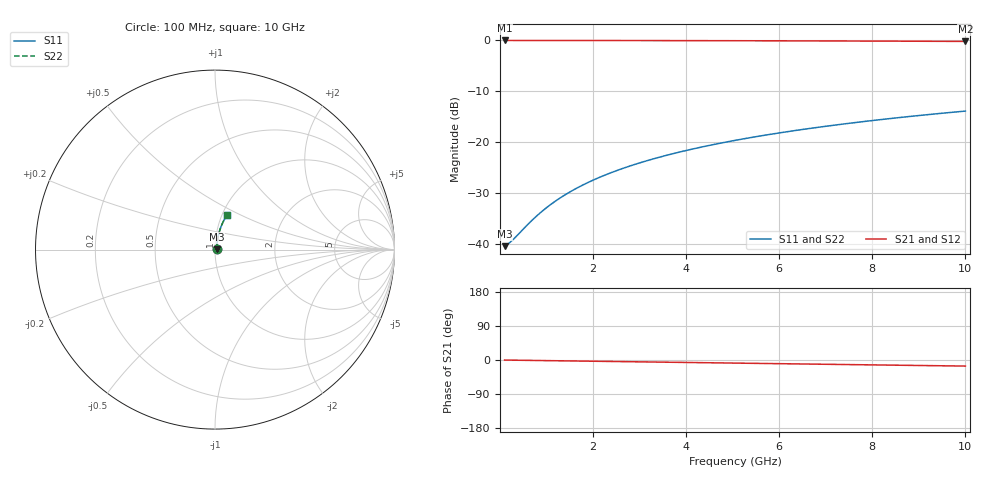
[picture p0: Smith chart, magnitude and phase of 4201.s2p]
# Hz S RI R 50.00
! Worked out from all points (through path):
!   100 points, 100 MHz to 10 GHz, reference 50 ohm
!   highest |S21| = -0.08 dB at 100 MHz (marker M1); lowest = -0.3 dB at 10 GHz (marker M2)
!   group delay of S21, straight-line fit = 4.46 ps
!   lowest |S11| = -40.4 dB at 100 MHz (marker M3), VSWR 1.02, Z = 50.9 + j0.207 ohm
!   |S11| at or under -10 dB: start of sweep to end of sweep
!   |S22| runs from -40.4 to -13.9 dB; largest |S21 - S12| = 0
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1e8  0.00931 0.00203  0.9907 -0.00281  0.9907 -0.00281  0.00931 0.00203
2e8  0.00939 0.00407  0.9906 -0.00561  0.9906 -0.00561  0.00939 0.00407
3e8  0.00946 0.0061  0.9905 -0.00842  0.9905 -0.00842  0.00946 0.0061
7e8  0.00981 0.0142  0.9902 -0.0196  0.9902 -0.0196  0.00981 0.0142
8e8  0.00992 0.0163  0.9901 -0.0224  0.9901 -0.0224  0.00992 0.0163
1e9  0.0102 0.0203  0.9898 -0.028  0.9898 -0.028  0.0102 0.0203
1.2e9  0.0105 0.0244  0.9895 -0.0336  0.9895 -0.0336  0.0105 0.0244
1.4e9  0.0108 0.0284  0.9891 -0.0392  0.9891 -0.0392  0.0108 0.0284
1.6e9  0.0112 0.0325  0.9888 -0.0448  0.9888 -0.0448  0.0112 0.0325
1.8e9  0.0116 0.0365  0.9883 -0.0504  0.9883 -0.0504  0.0116 0.0365
2.1e9  0.0123 0.0425  0.9876 -0.0588  0.9876 -0.0588  0.0123 0.0425
2.5e9  0.0134 0.0506  0.9864 -0.0699  0.9864 -0.0699  0.0134 0.0506
2.9e9  0.0147 0.0586  0.9851 -0.081  0.9851 -0.081  0.0147 0.0586
3.4e9  0.0165 0.0685  0.9831 -0.0948  0.9831 -0.0948  0.0165 0.0685
3.8e9  0.0182 0.0764  0.9814 -0.1058  0.9814 -0.1058  0.0182 0.0764
4.2e9  0.02 0.0843  0.9794 -0.1168  0.9794 -0.1168  0.02 0.0843
5.1e9  0.0248 0.1018  0.9744 -0.1413  0.9744 -0.1413  0.0248 0.1018
5.9e9  0.0298 0.1171  0.9691 -0.1628  0.9691 -0.1628  0.0298 0.1171
6.7e9  0.0354 0.1321  0.9632 -0.184  0.9632 -0.184  0.0354 0.1321
7.5e9  0.0417 0.1468  0.9566 -0.2049  0.9566 -0.2049  0.0417 0.1468
8.4e9  0.0495 0.1629  0.9483 -0.228  0.9483 -0.228  0.0495 0.1629
1e10  0.0652 0.1903  0.9317 -0.2679  0.9317 -0.2679  0.0652 0.1903
